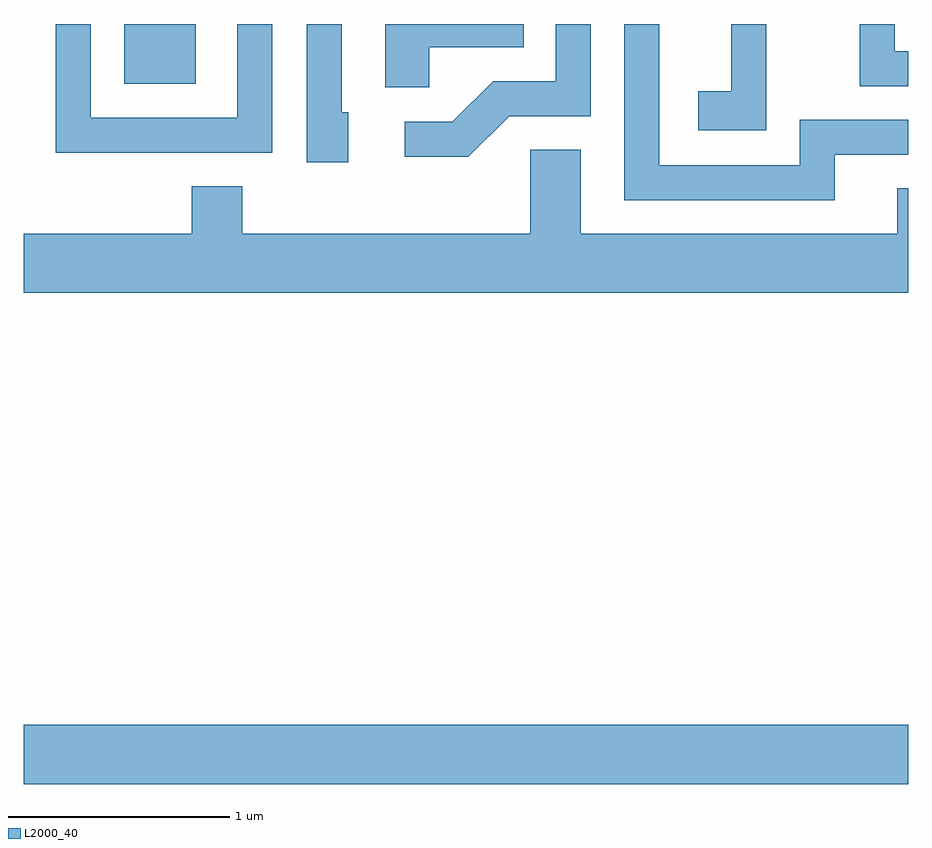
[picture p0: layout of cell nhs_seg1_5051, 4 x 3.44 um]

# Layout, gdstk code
import gdstk
lib = gdstk.Library(unit=1e-6, precision=1e-09)
def R(c, l, rs):  # rectangles x0, y0, x1, y1
    for r in rs: c.add(gdstk.rectangle(r[:2], r[2:], *l))
def P(c, l, *ps):  # polygons
    for p in ps: c.add(gdstk.Polygon(p, *l))
L2000_40 = (2000, 40)

nhs_seg1_5051 = lib.new_cell('nhs_seg1_5051')
R(nhs_seg1_5051, L2000_40, [(337.611,866.276,341.611,866.544), (338.066,869.441,338.389,869.712)])
P(nhs_seg1_5051, L2000_40, [(340.969,869.712),(340.811,869.712),(340.811,869.409),(340.661,869.409),(340.661,869.231),(340.969,869.231)],
  [(339.807,869.296),(340.174,869.296),(340.174,869.712),(340.016,869.712),(340.016,869.454),(339.734,869.454),(339.549,869.269),(339.333,869.269),(339.333,869.111),(339.622,869.111)],
  [(339.079,869.314),(339.049,869.314),(339.049,869.712),(338.891,869.712),(338.891,869.086),(339.079,869.086)],
  [(341.279,869.121),(341.611,869.121),(341.611,869.279),(341.121,869.279),(341.121,869.074),(340.484,869.074),(340.484,869.712),(340.326,869.712),(340.326,868.916),(341.279,868.916)],
  [(338.734,869.712),(338.576,869.712),(338.576,869.289),(337.914,869.289),(337.914,869.712),(337.756,869.712),(337.756,869.131),(338.734,869.131)],
  [(341.611,869.589),(341.549,869.589),(341.549,869.712),(341.391,869.712),(341.391,869.431),(341.611,869.431)],
  [(339.444,869.606),(339.873,869.606),(339.873,869.712),(339.246,869.712),(339.246,869.426),(339.444,869.426)],
  [(341.611,868.969),(341.561,868.969),(341.561,868.764),(340.129,868.764),(340.129,869.144),(339.901,869.144),(339.901,868.764),(338.599,868.764),(338.599,868.979),(338.371,868.979),(338.371,868.764),(337.611,868.764),(337.611,868.496),(341.611,868.496)])

lib.write_gds('nhs_seg1_5051.gds')
